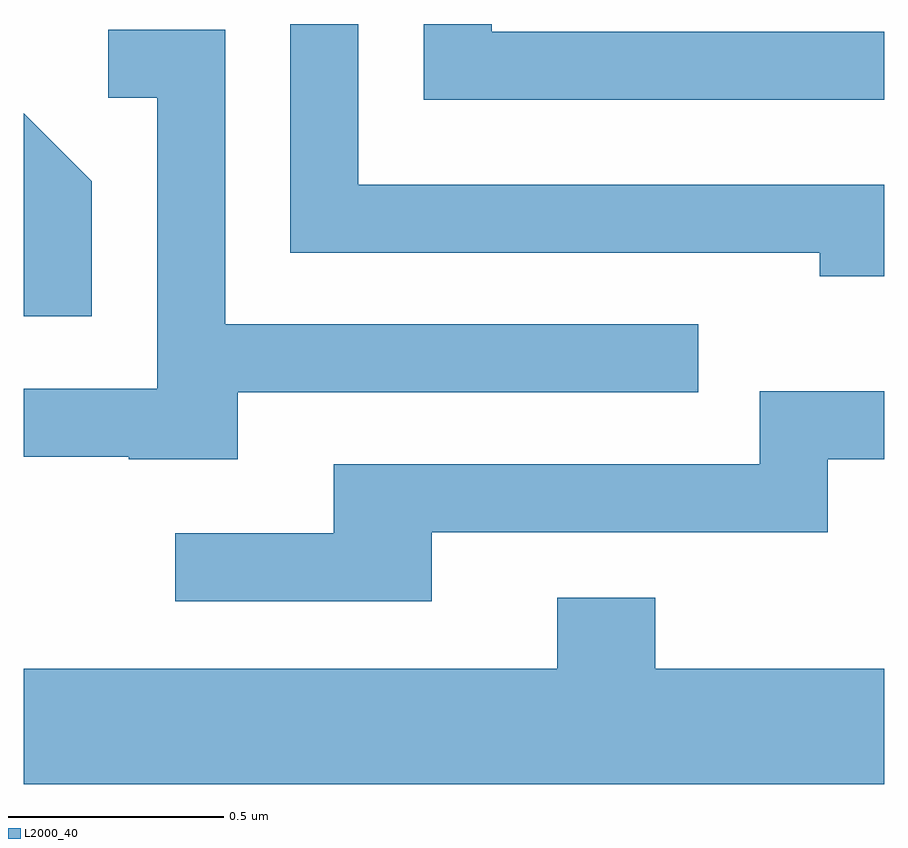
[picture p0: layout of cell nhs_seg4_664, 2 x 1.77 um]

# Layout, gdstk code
import gdstk
lib = gdstk.Library(unit=1e-6, precision=1e-09)
def P(c, l, *ps):  # polygons
    for p in ps: c.add(gdstk.Polygon(p, *l))
L2000_40 = (2000, 40)

nhs_seg4_664 = lib.new_cell('nhs_seg4_664')
P(nhs_seg4_664, L2000_40, [(191.611,1371.964),(190.699,1371.964),(190.699,1371.982),(190.541,1371.982),(190.541,1371.806),(191.611,1371.806)],
  [(191.611,1371.609),(190.389,1371.609),(190.389,1371.982),(190.231,1371.982),(190.231,1371.451),(191.461,1371.451),(191.461,1371.396),(191.611,1371.396)],
  [(190.109,1371.126),(191.178,1371.126),(191.178,1371.284),(190.079,1371.284),(190.079,1371.969),(189.808,1371.969),(189.808,1371.811),(189.921,1371.811),(189.921,1371.134),(189.611,1371.134),(189.611,1370.976),(189.855,1370.976),(189.855,1370.971),(190.109,1370.971)],
  [(189.769,1371.617),(189.611,1371.775),(189.611,1371.303),(189.769,1371.303)],
  [(190.559,1370.801),(191.479,1370.801),(191.479,1370.971),(191.611,1370.971),(191.611,1371.129),(191.321,1371.129),(191.321,1370.959),(190.331,1370.959),(190.331,1370.799),(189.963,1370.799),(189.963,1370.641),(190.559,1370.641)],
  [(191.611,1370.484),(191.079,1370.484),(191.079,1370.649),(190.851,1370.649),(190.851,1370.484),(189.611,1370.484),(189.611,1370.216),(191.611,1370.216)])

lib.write_gds('nhs_seg4_664.gds')
